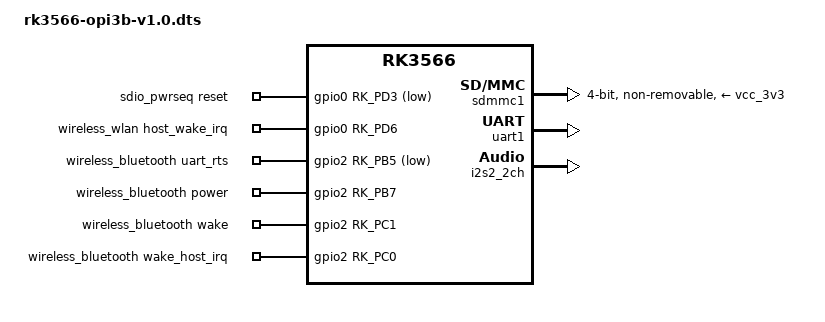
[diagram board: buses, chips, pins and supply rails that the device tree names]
// SPDX-License-Identifier: (GPL-2.0+ OR MIT)
/*
 * Copyright (c) 2024 Rockchip Electronics Co., Ltd.
 *
 */

/dts-v1/;
#include "rk3566-opi3b.dtsi"

/ {
	sdio_pwrseq: sdio-pwrseq {
		compatible = "mmc-pwrseq-simple";
		pinctrl-names = "default";
		pinctrl-0 = <&wifi_enable_h>;
		clocks = <&rk809 1>;
		clock-names = "ext_clock";
		reset-gpios = <&gpio0 RK_PD3 GPIO_ACTIVE_LOW>;
	};

	wireless_wlan: wireless-wlan {
		compatible = "wlan-platdata";
		wifi_chip_type = "ap6256";
		rockchip,grf = <&grf>;
		clocks = <&rk809 1>;
		clock-names = "clk_wifi";
		pinctrl-names = "default";
		pinctrl-0 = <&wifi_host_wake_irq>;
		WIFI,host_wake_irq = <&gpio0 RK_PD6 GPIO_ACTIVE_HIGH>;
		status = "okay";
	};

	wireless_bluetooth: wireless-bluetooth {
		compatible = "bluetooth-platdata";
		clocks = <&rk809 1>;
		clock-names = "ext_clock";
		uart_rts_gpios = <&gpio2 RK_PB5 GPIO_ACTIVE_LOW>;
		pinctrl-names = "default", "rts_gpio";
		pinctrl-0 = <&uart1m0_rtsn &bt_poweren &bt_wake_l &bt_host_wake_irq>;
		pinctrl-1 = <&uart1m0_rtsn_gpios>;
		BT,power_gpio    = <&gpio2 RK_PB7 GPIO_ACTIVE_HIGH>;
		BT,wake_gpio     = <&gpio2 RK_PC1 GPIO_ACTIVE_HIGH>;
		BT,wake_host_irq = <&gpio2 RK_PC0 GPIO_ACTIVE_HIGH>;
		status = "okay";
	};

	wireless_bluetooth_sound: wireless-bluetooth-sound {
		compatible = "simple-audio-card";
		simple-audio-card,format = "dsp_b";
		simple-audio-card,bitclock-inversion;
		simple-audio-card,mclk-fs = <256>;
		simple-audio-card,name = "rockchip,bt";
		#simple-audio-card,bitclock-master = <&sound2_master>;
		#simple-audio-card,frame-master = <&sound2_master>;
		status = "okay";

		simple-audio-card,cpu {
			sound-dai = <&i2s2_2ch>;
		};

		sound2_master:simple-audio-card,codec {
			#sound-dai-cells = <0>;
			sound-dai = <&wireless_bluetooth_sco>;
		};
	};

	wireless_bluetooth_sco: wireless-bluetooth-sco {
		compatible = "delta,dfbmcs320";
		#sound-dai-cells = <0>;
		status = "okay";
	};
};

&es8388_sound {
	rockchip,audio-routing =
		"Headphone", "LOUT1",
		"Headphone", "ROUT1",
		"Speaker", "LOUT1",
		"Speaker", "ROUT1",
		"LINPUT1", "Main Mic",
		"RINPUT1", "Main Mic",
		"LINPUT1", "Headset Mic",
		"RINPUT1", "Headset Mic";
};

&sdmmc1 {
    bus-width = <4>;
	cap-sd-highspeed;
	cap-sdio-irq;
	keep-power-in-suspend;
	mmc-pwrseq = <&sdio_pwrseq>;
	no-mmc;
	no-sd;
	non-removable;
	pinctrl-names = "default";
	pinctrl-0 = <&sdmmc1_bus4 &sdmmc1_clk &sdmmc1_cmd>;
	sd-uhs-sdr104;
	vmmc-supply = <&vcc_3v3>;
	vqmmc-supply = <&vcc_1v8>;
	status = "okay";
};
	
&uart1 {
	status = "okay";
	pinctrl-names = "default";
	pinctrl-0 = <&uart1m0_xfer &uart1m0_ctsn>;
};

&i2s2_2ch {
	status = "okay";
	rockchip,bclk-fs = <32>;
	pinctrl-0 = <&i2s2m0_sclktx
			     &i2s2m0_lrcktx
			     &i2s2m0_sdi
			     &i2s2m0_sdo>;
};

&pinctrl {
	sdio-pwrseq {
		wifi_enable_h: wifi-enable-h {
			rockchip,pins = <0 RK_PD3 RK_FUNC_GPIO &pcfg_pull_none>;
		};
	};

    wireless-wlan {
        wifi_host_wake_irq: wifi-host-wake-irq {
            rockchip,pins = <0 RK_PD6 RK_FUNC_GPIO &pcfg_pull_down>;
        };
    };

    wireless-bluetooth {
		uart1m0_rtsn_gpios: uart1m0-rtsn-gpios {
			rockchip,pins = <2 RK_PB5 RK_FUNC_GPIO &pcfg_pull_none>;
		};

		bt_poweren: bt-poweren {
			rockchip,pins = <2 RK_PB7 RK_FUNC_GPIO &pcfg_pull_none>;
		};

		bt_host_wake_irq: bt-host-wake-irq {
			rockchip,pins = <2 RK_PC0 RK_FUNC_GPIO &pcfg_pull_down>;
		};

		bt_wake_l: bt-wake-l {
			rockchip,pins = <2 RK_PC1 RK_FUNC_GPIO &pcfg_pull_none>;
		};
    };
};
